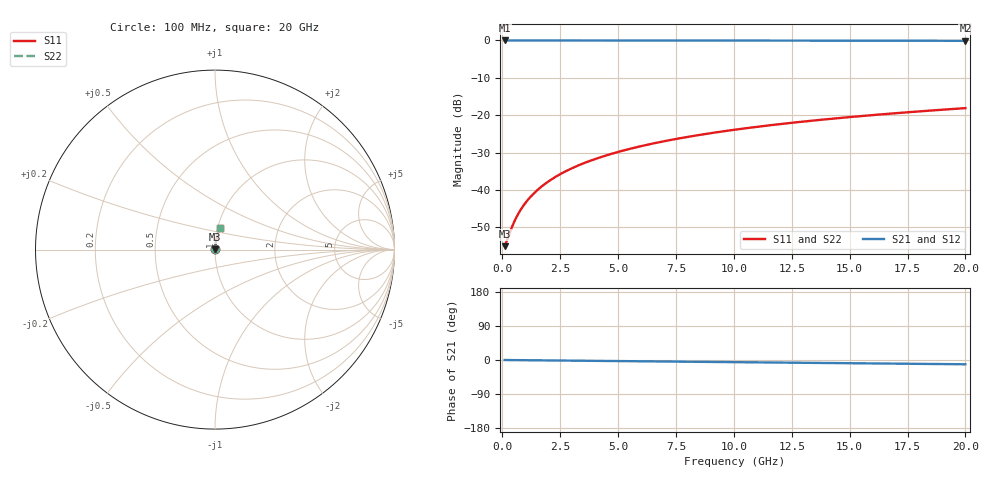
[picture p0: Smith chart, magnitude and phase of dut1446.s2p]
! Touchstone file exported from HFSS 2026.1.0
!  File:  C:/ffzhzh/LocalFiles/Ansys_Project_Files/temp_train_TSV_1446_1783197768_55132.aedt
!  Generated:  04:45:06 AM Jul  5, 2026
!  Design:  TSV
!  Project:  temp_train_TSV_1446_1783197768_55132
! Variables:
!  h_bsmrdl = 2um
!  h_ox = 20um
!  h_rdl = 5um
!  h_sub = 87.69um
!  h_tmrdl = 5um
!  h_tsv = 87.69um
!  h_via = 3um
!  l_bsmrdl = 300um
!  l_sub = 404.96um
!  l_tmrdl = 200um
!  m_sub = 200um
!  pitch = 37.68um
!  r_tsv = 2.48um
!  s_tmrdl = 10um
!  w_bsmrdl = 18um
!  w_sub = 500um
!  w_tmrdl = 12um
!  x_tsv_center1 = 206um
!  x_tsv_center2 = 524um
!  x_tsv_center3 = 736um
!  x_tsv_center4 = 1054um
!  x_tsv_center5 = 1266um
!  x_tsv_center6 = 1584um
# GHz S MA R 50.000000
! Terminal data exported
! Port[1] = TSV1_1_T1
! Port[2] = TSV1_1_T2
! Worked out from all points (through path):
!   200 points, 100 MHz to 20 GHz, reference 50 ohm
!   highest |S21| = -0.01 dB at 100 MHz (marker M1); lowest = -0.1 dB at 20 GHz (marker M2)
!   group delay of S21, straight-line fit = 1.57 ps
!   lowest |S11| = -55.1 dB at 100 MHz (marker M3), VSWR 1.00, Z = 50.2 + j0.0655 ohm
!   |S11| at or under -10 dB: start of sweep to end of sweep
!   |S22| runs from -55.1 to -18.1 dB; largest |S21 - S12| = 5.4e-15
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0.1  0.001767 21.7  0.9984 -0.1  0.9984 -0.1  0.001767 21.7
! Gamma 0 0 0 0
! Port Impedance 50 0 50 0
0.2  0.002102 38.4  0.9984 -0.1  0.9984 -0.1  0.002102 38.4
0.4  0.003092 57.3  0.9983 -0.2  0.9983 -0.2  0.003092 57.3
0.5  0.003658 62.6  0.9983 -0.3  0.9983 -0.3  0.003658 62.6
0.7  0.004848 69.3  0.9983 -0.4  0.9983 -0.4  0.004848 69.3
0.8  0.005459 71.5  0.9983 -0.5  0.9983 -0.5  0.005459 71.5
1  0.006699 74.7  0.9983 -0.6  0.9983 -0.6  0.006699 74.7
1.3  0.008584 77.7  0.9982 -0.8  0.9982 -0.8  0.008584 77.7
1.7  0.01112 80.0  0.9982 -1.0  0.9982 -1.0  0.01112 80.0
2.2  0.01431 81.6  0.9981 -1.3  0.9981 -1.3  0.01431 81.6
2.8  0.01815 82.6  0.998 -1.6  0.998 -1.6  0.01815 82.6
3.5  0.02262 83.2  0.9979 -2.0  0.9979 -2.0  0.02262 83.2
4.2  0.02709 83.4  0.9977 -2.4  0.9977 -2.4  0.02709 83.4
5  0.03219 83.4  0.9974 -2.9  0.9974 -2.9  0.03219 83.4
5.9  0.0379 83.3  0.9971 -3.4  0.9971 -3.4  0.0379 83.3
6.8  0.04359 83.0  0.9967 -3.9  0.9967 -3.9  0.04359 83.0
8.3  0.05301 82.4  0.996 -4.8  0.996 -4.8  0.05301 82.4
10.1  0.06421 81.6  0.995 -5.8  0.995 -5.8  0.06421 81.6
11.7  0.07409 80.9  0.9941 -6.7  0.9941 -6.7  0.07409 80.9
13.4  0.0845 80.1  0.993 -7.6  0.993 -7.6  0.0845 80.1
16.7  0.1045 78.4  0.9906 -9.5  0.9906 -9.5  0.1045 78.4
20  0.1241 76.7  0.988 -11.3  0.988 -11.3  0.1241 76.7
